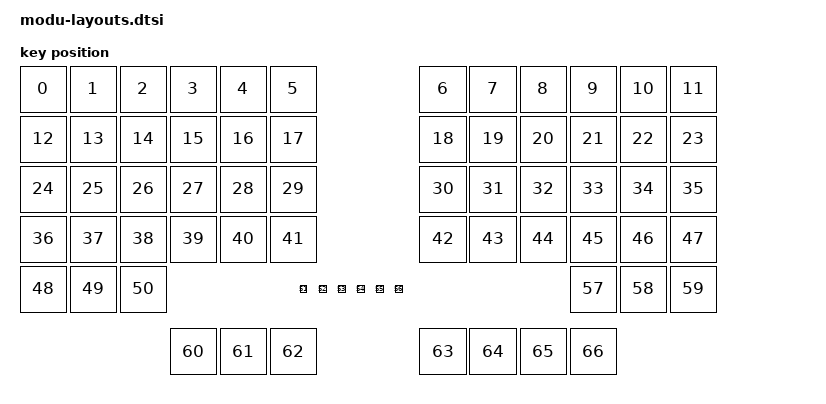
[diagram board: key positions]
/*
 * Copyright (c) 2026 EKS Inc.
 * SPDX-License-Identifier: LicenseRef-EKS-NonCommercial-1.0
 *
 * Studio layout derived from config/info.json, in default_transform order.
 * Keep all 67 logical positions, including placeholders 51..56.
 * Use alt_thumb_kscan so the existing P0.08 orientation remapping is preserved.
 */

#include <physical_layouts.dtsi>

/ {
    chosen {
        /delete-property/ zmk,matrix-transform;
        zmk,physical-layout = &modu_layout;
    };

    modu_layout: modu_layout {
        compatible = "zmk,physical-layout";
        display-name = "MODU-C";
        transform = <&default_transform>;
        kscan = <&alt_thumb_kscan>;

        // Dimensions/coordinates are in 1/100 key units.
        //                     w   h    x    y   rot  rx  ry
        keys
            = <&key_physical_attrs 100 100    0    0     0   0   0> // 0: R0C0
            , <&key_physical_attrs 100 100  100    0     0   0   0> // 1: R0C1
            , <&key_physical_attrs 100 100  200    0     0   0   0> // 2: R0C2
            , <&key_physical_attrs 100 100  300    0     0   0   0> // 3: R0C3
            , <&key_physical_attrs 100 100  400    0     0   0   0> // 4: R0C4
            , <&key_physical_attrs 100 100  500    0     0   0   0> // 5: R0C5
            , <&key_physical_attrs 100 100  800    0     0   0   0> // 6: R0C6
            , <&key_physical_attrs 100 100  900    0     0   0   0> // 7: R0C7
            , <&key_physical_attrs 100 100 1000    0     0   0   0> // 8: R0C8
            , <&key_physical_attrs 100 100 1100    0     0   0   0> // 9: R0C9
            , <&key_physical_attrs 100 100 1200    0     0   0   0> // 10: R0C10
            , <&key_physical_attrs 100 100 1300    0     0   0   0> // 11: R0C11
            , <&key_physical_attrs 100 100    0  100     0   0   0> // 12: R1C0
            , <&key_physical_attrs 100 100  100  100     0   0   0> // 13: R1C1
            , <&key_physical_attrs 100 100  200  100     0   0   0> // 14: R1C2
            , <&key_physical_attrs 100 100  300  100     0   0   0> // 15: R1C3
            , <&key_physical_attrs 100 100  400  100     0   0   0> // 16: R1C4
            , <&key_physical_attrs 100 100  500  100     0   0   0> // 17: R1C5
            , <&key_physical_attrs 100 100  800  100     0   0   0> // 18: R1C6
            , <&key_physical_attrs 100 100  900  100     0   0   0> // 19: R1C7
            , <&key_physical_attrs 100 100 1000  100     0   0   0> // 20: R1C8
            , <&key_physical_attrs 100 100 1100  100     0   0   0> // 21: R1C9
            , <&key_physical_attrs 100 100 1200  100     0   0   0> // 22: R1C10
            , <&key_physical_attrs 100 100 1300  100     0   0   0> // 23: R1C11
            , <&key_physical_attrs 100 100    0  200     0   0   0> // 24: R2C0
            , <&key_physical_attrs 100 100  100  200     0   0   0> // 25: R2C1
            , <&key_physical_attrs 100 100  200  200     0   0   0> // 26: R2C2
            , <&key_physical_attrs 100 100  300  200     0   0   0> // 27: R2C3
            , <&key_physical_attrs 100 100  400  200     0   0   0> // 28: R2C4
            , <&key_physical_attrs 100 100  500  200     0   0   0> // 29: R2C5
            , <&key_physical_attrs 100 100  800  200     0   0   0> // 30: R2C6
            , <&key_physical_attrs 100 100  900  200     0   0   0> // 31: R2C7
            , <&key_physical_attrs 100 100 1000  200     0   0   0> // 32: R2C8
            , <&key_physical_attrs 100 100 1100  200     0   0   0> // 33: R2C9
            , <&key_physical_attrs 100 100 1200  200     0   0   0> // 34: R2C10
            , <&key_physical_attrs 100 100 1300  200     0   0   0> // 35: R2C11
            , <&key_physical_attrs 100 100    0  300     0   0   0> // 36: R3C0
            , <&key_physical_attrs 100 100  100  300     0   0   0> // 37: R3C1
            , <&key_physical_attrs 100 100  200  300     0   0   0> // 38: R3C2
            , <&key_physical_attrs 100 100  300  300     0   0   0> // 39: R3C3
            , <&key_physical_attrs 100 100  400  300     0   0   0> // 40: R3C4
            , <&key_physical_attrs 100 100  500  300     0   0   0> // 41: R3C5
            , <&key_physical_attrs 100 100  800  300     0   0   0> // 42: R3C6
            , <&key_physical_attrs 100 100  900  300     0   0   0> // 43: R3C7
            , <&key_physical_attrs 100 100 1000  300     0   0   0> // 44: R3C8
            , <&key_physical_attrs 100 100 1100  300     0   0   0> // 45: R3C9
            , <&key_physical_attrs 100 100 1200  300     0   0   0> // 46: R3C10
            , <&key_physical_attrs 100 100 1300  300     0   0   0> // 47: R3C11
            , <&key_physical_attrs 100 100    0  400     0   0   0> // 48: R4C0
            , <&key_physical_attrs 100 100  100  400     0   0   0> // 49: R4C1
            , <&key_physical_attrs 100 100  200  400     0   0   0> // 50: R4C2
            , <&key_physical_attrs  22  22  560  438     0   0   0> // 51: R4C3 (placeholder)
            , <&key_physical_attrs  22  22  598  438     0   0   0> // 52: R4C4 (placeholder)
            , <&key_physical_attrs  22  22  636  438     0   0   0> // 53: R4C5 (placeholder)
            , <&key_physical_attrs  22  22  674  438     0   0   0> // 54: R4C6 (placeholder)
            , <&key_physical_attrs  22  22  712  438     0   0   0> // 55: R4C7 (placeholder)
            , <&key_physical_attrs  22  22  750  438     0   0   0> // 56: R4C8 (placeholder)
            , <&key_physical_attrs 100 100 1100  400     0   0   0> // 57: R4C9
            , <&key_physical_attrs 100 100 1200  400     0   0   0> // 58: R4C10
            , <&key_physical_attrs 100 100 1300  400     0   0   0> // 59: R4C11
            , <&key_physical_attrs 100 100  300  525     0   0   0> // 60: R5C0
            , <&key_physical_attrs 100 100  400  525     0   0   0> // 61: R5C1
            , <&key_physical_attrs 100 100  500  525     0   0   0> // 62: R5C2
            , <&key_physical_attrs 100 100  800  525     0   0   0> // 63: R5C6
            , <&key_physical_attrs 100 100  900  525     0   0   0> // 64: R5C7
            , <&key_physical_attrs 100 100 1000  525     0   0   0> // 65: R5C8
            , <&key_physical_attrs 100 100 1100  525     0   0   0> // 66: R5C9
            ;
    };
};
